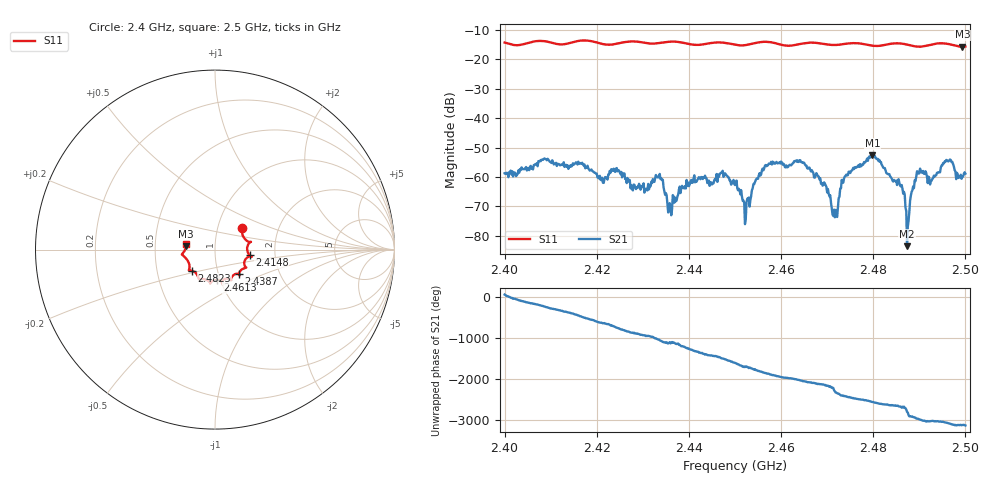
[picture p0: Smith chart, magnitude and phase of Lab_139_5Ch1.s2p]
# Hz S RI R 50
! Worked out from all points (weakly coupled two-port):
!   601 points, 2.4 GHz to 2.5 GHz, reference 50 ohm
!   highest |S21| = -52.68 dB at 2.4798 GHz (marker M1); lowest = -83.5 dB at 2.4873 GHz (marker M2)
!   lowest |S11| = -15.8 dB at 2.4993 GHz (marker M3), VSWR 1.39, Z = 36 + j1.29 ohm
!   |S11| at or under -10 dB: start of sweep to end of sweep
!   S12 and S22 are empty: the file has one direction only
!   S11 on the Smith chart (normalised r, x): 2.4 GHz: 1.31, +0.32; 2.4148 GHz: 1.47, -0.10; 2.4387 GHz: 1.25, -0.36; 2.4613 GHz: 0.97, -0.34; 2.4823 GHz: 0.75, -0.18; 2.5 GHz: 0.72, +0.04
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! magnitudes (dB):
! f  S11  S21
! 2.4 GHz  -14.3  -58.7
! 2.4148 GHz  -14.2  -55.4
! 2.4167 GHz  -13.6  -55.5
! 2.4282 GHz  -14.0  -62.7
! 2.4333 GHz  -14.5  -60.2
! 2.4358 GHz  -14.0  -68.9
! 2.4387 GHz  -14.4  -63.7
! 2.45 GHz  -15.0  -62.8
! 2.4527 GHz  -15.1  -67.4
! 2.4563 GHz  -14.1  -57.1
! 2.4613 GHz  -15.4  -56.7
! 2.4667 GHz  -14.3  -57.7
! 2.4717 GHz  -15.2  -73.7
! 2.4737 GHz  -14.8  -60.4
! 2.4798 GHz  -15.4  -52.7
! 2.4823 GHz  -15.2  -57.0
! 2.4833 GHz  -14.9  -59.0
! 2.4858 GHz  -14.6  -63.0
! 2.4873 GHz  -15.0  -83.5
! 2.49 GHz  -15.7  -58.8
! 2.4993 GHz  -15.8  -60.0
! 2.5 GHz  -15.7  -58.9
